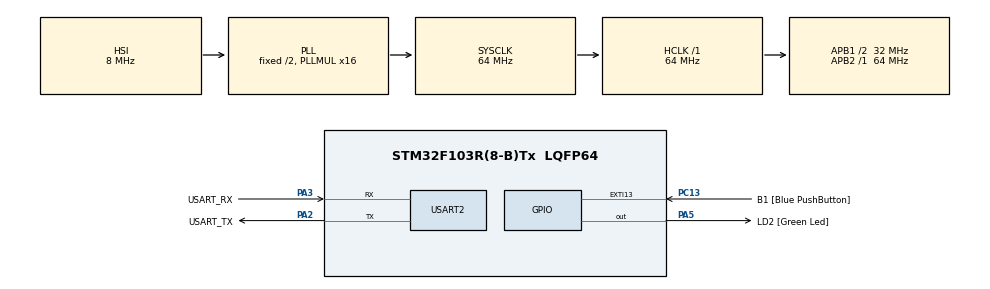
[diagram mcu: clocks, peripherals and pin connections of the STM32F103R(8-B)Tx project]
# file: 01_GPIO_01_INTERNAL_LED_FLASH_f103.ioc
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Mcu.Family=STM32F1
Mcu.Name=STM32F103R(8-B)Tx
Mcu.Package=LQFP64
NVIC.EXTI15_10_IRQn=true\:0\:0\:false\:false\:true\:true\:true\:true
NVIC.PriorityGroup=NVIC_PRIORITYGROUP_4
PA13.GPIO_Label=TMS
PA13.Mode=Serial_Wire
PA13.Signal=SYS_JTMS-SWDIO
PA14.GPIO_Label=TCK
PA14.Mode=Serial_Wire
PA14.Signal=SYS_JTCK-SWCLK
PA2.GPIO_Label=USART_TX
PA2.GPIO_Mode=GPIO_MODE_AF_PP
PA2.GPIO_PuPd=GPIO_NOPULL
PA2.GPIO_Speed=GPIO_SPEED_FREQ_LOW
PA2.Mode=Asynchronous
PA2.Signal=USART2_TX
PA3.GPIO_Label=USART_RX
PA3.GPIO_Mode=GPIO_MODE_AF_PP
PA3.GPIO_PuPd=GPIO_NOPULL
PA3.GPIO_Speed=GPIO_SPEED_FREQ_LOW
PA3.Mode=Asynchronous
PA3.Signal=USART2_RX
PA5.GPIO_Label=LD2 [Green Led]
PA5.GPIO_ModeDefaultOutputPP=GPIO_MODE_OUTPUT_PP
PA5.GPIO_PuPd=GPIO_NOPULL
PA5.GPIO_Speed=GPIO_SPEED_FREQ_LOW
PA5.Signal=GPIO_Output
PB3.GPIO_Label=SWO
PB3.Signal=SYS_JTDO-TRACESWO
PC13-TAMPER-RTC.GPIO_Label=B1 [Blue PushButton]
PC13-TAMPER-RTC.GPIO_PuPd=GPIO_NOPULL
PC13-TAMPER-RTC.Signal=GPXTI13
PC14-OSC32_IN.Mode=LSE-External-Oscillator
PC14-OSC32_IN.Signal=RCC_OSC32_IN
PC15-OSC32_OUT.Mode=LSE-External-Oscillator
PC15-OSC32_OUT.Signal=RCC_OSC32_OUT
PD0-OSC_IN.Mode=HSE-External-Clock-Source
PD0-OSC_IN.Signal=RCC_OSC_IN
PD1-OSC_OUT.Mode=HSE-External-Clock-Source
PD1-OSC_OUT.Signal=RCC_OSC_OUT
ProjectManager.HeapSize=0x200
ProjectManager.StackSize=0x400
ProjectManager.TargetToolchain=STM32CubeIDE
RCC.AHBFreq_Value=64000000
RCC.APB1CLKDivider=RCC_HCLK_DIV2
RCC.APB1Freq_Value=32000000
RCC.APB1TimFreq_Value=64000000
RCC.APB2Freq_Value=64000000
RCC.APB2TimFreq_Value=64000000
RCC.HCLKFreq_Value=64000000
RCC.PLLMUL=RCC_PLL_MUL16
RCC.RTCClockSelection=RCC_RTCCLKSOURCE_LSE
RCC.SYSCLKFreq_VALUE=64000000
RCC.SYSCLKSource=RCC_SYSCLKSOURCE_PLLCLK
RCC.USBFreq_Value=64000000
USART2.VirtualMode=VM_ASYNC
board=NUCLEO-F103RB

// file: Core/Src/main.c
/* USER CODE BEGIN Header */
/**
  ******************************************************************************
  * @file           : main.c
  * @brief          : Main program body
  ******************************************************************************
  * @attention
  *
  * Copyright (c) 2022 STMicroelectronics.
  * All rights reserved.
  *
  * This software is licensed under terms that can be found in the LICENSE file
  * in the root directory of this software component.
  * If no LICENSE file comes with this software, it is provided AS-IS.
  *
  ******************************************************************************
  */
/* USER CODE END Header */
#include "main.h"

/* USER CODE BEGIN Includes */
#include <stdio.h>

/* USER CODE END Includes */

 UART_HandleTypeDef huart2;

void SystemClock_Config(void);
static void MX_GPIO_Init(void);
static void MX_USART2_UART_Init(void);

/* USER CODE BEGIN 0 */
int __io_putchar(int ch)
{
 if ( ch == '\n' )
	 HAL_UART_Transmit(&huart2, (uint8_t*)&"\r", 1, HAL_MAX_DELAY);
 HAL_UART_Transmit(&huart2, (uint8_t*)&ch, 1, HAL_MAX_DELAY);
 return ch;
}

int __io_getchar(void)
{
	uint8_t ch;

	while( HAL_OK != HAL_UART_Receive(&huart2, &ch, 1, HAL_MAX_DELAY) )
	{
		;
	}
	return ch;
}

int f,g,y;//global variables
int sum(int a, int b){
     return (a+b);
}
/* USER CODE END 0 */

int main(void)
{

  /* MCU Configuration--------------------------------------------------------*/

  /* Reset of all peripherals, Initializes the Flash interface and the Systick. */
  HAL_Init();

  /* Configure the system clock */
  SystemClock_Config();

  /* Initialize all configured peripherals */
  MX_GPIO_Init();
  MX_USART2_UART_Init();
  /* USER CODE BEGIN 2 */
  printf("\n\n\nHELLO, STM32\n");

  /* USER CODE END 2 */

  /* Infinite loop */
  /* USER CODE BEGIN WHILE */
  while (1)
  {
    HAL_GPIO_WritePin(LD2_GPIO_Port, LD2_Pin, GPIO_PIN_SET); // LED 'ON'
    HAL_Delay(250);
    HAL_GPIO_WritePin(LD2_GPIO_Port, LD2_Pin, GPIO_PIN_RESET); // LED 'OFF'
    HAL_Delay(250);
    /* USER CODE END WHILE */

  }
}

void SystemClock_Config(void)
{
  RCC_OscInitTypeDef RCC_OscInitStruct = {0};
  RCC_ClkInitTypeDef RCC_ClkInitStruct = {0};

  /** Initializes the RCC Oscillators according to the specified parameters
  * in the RCC_OscInitTypeDef structure.
  */
  RCC_OscInitStruct.OscillatorType = RCC_OSCILLATORTYPE_HSI;
  RCC_OscInitStruct.HSIState = RCC_HSI_ON;
  RCC_OscInitStruct.HSICalibrationValue = RCC_HSICALIBRATION_DEFAULT;
  RCC_OscInitStruct.PLL.PLLState = RCC_PLL_ON;
  RCC_OscInitStruct.PLL.PLLSource = RCC_PLLSOURCE_HSI_DIV2;
  RCC_OscInitStruct.PLL.PLLMUL = RCC_PLL_MUL16;
  if (HAL_RCC_OscConfig(&RCC_OscInitStruct) != HAL_OK)
  {
    Error_Handler();
  }

  /** Initializes the CPU, AHB and APB buses clocks
  */
  RCC_ClkInitStruct.ClockType = RCC_CLOCKTYPE_HCLK|RCC_CLOCKTYPE_SYSCLK
                              |RCC_CLOCKTYPE_PCLK1|RCC_CLOCKTYPE_PCLK2;
  RCC_ClkInitStruct.SYSCLKSource = RCC_SYSCLKSOURCE_PLLCLK;
  RCC_ClkInitStruct.AHBCLKDivider = RCC_SYSCLK_DIV1;
  RCC_ClkInitStruct.APB1CLKDivider = RCC_HCLK_DIV2;
  RCC_ClkInitStruct.APB2CLKDivider = RCC_HCLK_DIV1;

  if (HAL_RCC_ClockConfig(&RCC_ClkInitStruct, FLASH_LATENCY_2) != HAL_OK)
  {
    Error_Handler();
  }
}

static void MX_USART2_UART_Init(void)
{

  huart2.Instance = USART2;
  huart2.Init.BaudRate = 115200;
  huart2.Init.WordLength = UART_WORDLENGTH_8B;
  huart2.Init.StopBits = UART_STOPBITS_1;
  huart2.Init.Parity = UART_PARITY_NONE;
  huart2.Init.Mode = UART_MODE_TX_RX;
  huart2.Init.HwFlowCtl = UART_HWCONTROL_NONE;
  huart2.Init.OverSampling = UART_OVERSAMPLING_16;
  if (HAL_UART_Init(&huart2) != HAL_OK)
  {
    Error_Handler();
  }

}

static void MX_GPIO_Init(void)
{
  GPIO_InitTypeDef GPIO_InitStruct = {0};

  /* GPIO Ports Clock Enable */
  __HAL_RCC_GPIOC_CLK_ENABLE();
  __HAL_RCC_GPIOD_CLK_ENABLE();
  __HAL_RCC_GPIOA_CLK_ENABLE();
  __HAL_RCC_GPIOB_CLK_ENABLE();

  /*Configure GPIO pin Output Level */
  HAL_GPIO_WritePin(LD2_GPIO_Port, LD2_Pin, GPIO_PIN_RESET);

  /*Configure GPIO pin : B1_Pin */
  GPIO_InitStruct.Pin = B1_Pin;
  GPIO_InitStruct.Mode = GPIO_MODE_IT_RISING;
  GPIO_InitStruct.Pull = GPIO_NOPULL;
  HAL_GPIO_Init(B1_GPIO_Port, &GPIO_InitStruct);

  /*Configure GPIO pin : LD2_Pin */
  GPIO_InitStruct.Pin = LD2_Pin;
  GPIO_InitStruct.Mode = GPIO_MODE_OUTPUT_PP;
  GPIO_InitStruct.Pull = GPIO_NOPULL;
  GPIO_InitStruct.Speed = GPIO_SPEED_FREQ_LOW;
  HAL_GPIO_Init(LD2_GPIO_Port, &GPIO_InitStruct);

  /* EXTI interrupt init*/
  HAL_NVIC_SetPriority(EXTI15_10_IRQn, 0, 0);
  HAL_NVIC_EnableIRQ(EXTI15_10_IRQn);

}

void Error_Handler(void)
{
  __disable_irq();
  while (1)
  {
  }
}
